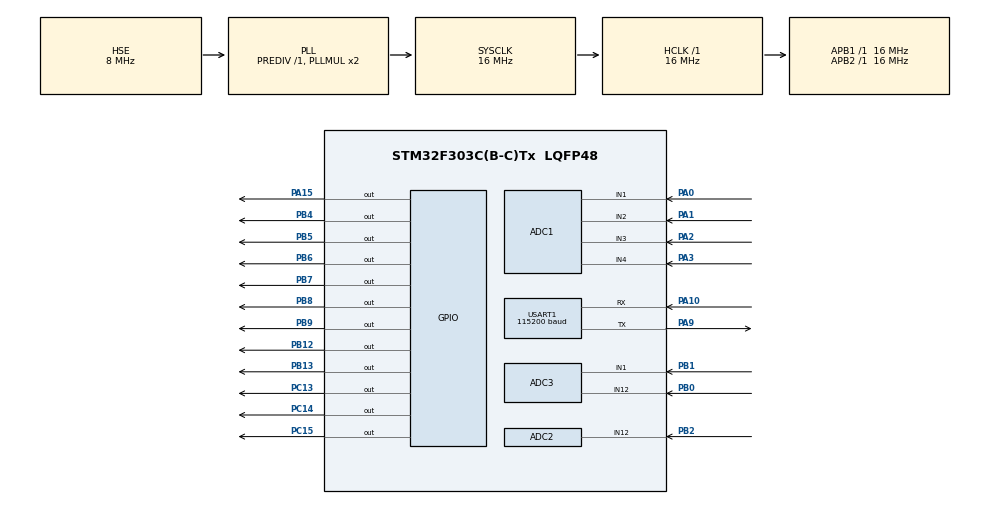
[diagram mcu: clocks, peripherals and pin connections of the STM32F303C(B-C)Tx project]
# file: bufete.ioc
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ADC1.Channel-0\#ChannelRegularConversion=ADC_CHANNEL_1
ADC1.NbrOfConversionFlag=1
ADC1.Offset-0\#ChannelRegularConversion=0
ADC1.OffsetNumber-0\#ChannelRegularConversion=ADC_OFFSET_NONE
ADC1.Rank-0\#ChannelRegularConversion=1
ADC1.SamplingTime-0\#ChannelRegularConversion=ADC_SAMPLETIME_1CYCLE_5
ADC1.SingleDiff-0\#ChannelRegularConversion=ADC_DIFFERENTIAL_ENDED
ADC1.master=1
ADC2.Channel-0\#ChannelRegularConversion=ADC_CHANNEL_12
ADC2.NbrOfConversionFlag=1
ADC2.Offset-0\#ChannelRegularConversion=0
ADC2.OffsetNumber-0\#ChannelRegularConversion=ADC_OFFSET_NONE
ADC2.Rank-0\#ChannelRegularConversion=1
ADC2.SamplingTime-0\#ChannelRegularConversion=ADC_SAMPLETIME_1CYCLE_5
ADC3.Channel-0\#ChannelRegularConversion=ADC_CHANNEL_1
ADC3.NbrOfConversionFlag=1
ADC3.Offset-0\#ChannelRegularConversion=0
ADC3.OffsetNumber-0\#ChannelRegularConversion=ADC_OFFSET_NONE
ADC3.Rank-0\#ChannelRegularConversion=1
ADC3.SamplingTime-0\#ChannelRegularConversion=ADC_SAMPLETIME_1CYCLE_5
ADC3.master=1
Mcu.Family=STM32F3
Mcu.Name=STM32F303C(B-C)Tx
Mcu.Package=LQFP48
NVIC.PriorityGroup=NVIC_PRIORITYGROUP_4
NVIC.USART1_IRQn=true\:0\:0\:false\:false\:true\:true\:true\:true
PA0.Mode=IN1-Differential
PA0.Signal=ADC1_IN1
PA1.Mode=IN1-Differential
PA1.Signal=ADC1_IN2
PA10.Mode=Asynchronous
PA10.Signal=USART1_RX
PA13.Mode=Serial_Wire
PA13.Signal=SYS_JTMS-SWDIO
PA14.Mode=Serial_Wire
PA14.Signal=SYS_JTCK-SWCLK
PA15.Signal=GPIO_Output
PA2.Mode=IN3-Differential
PA2.Signal=ADC1_IN3
PA3.Mode=IN3-Differential
PA3.Signal=ADC1_IN4
PA4.Signal=ADC2_IN1
PA5.Signal=ADC2_IN2
PA6.Signal=ADC2_IN3
PA9.Mode=Asynchronous
PA9.Signal=USART1_TX
PB0.Mode=IN12-Single-Ended
PB0.Signal=ADC3_IN12
PB1.Mode=IN1-Single-Ended
PB1.Signal=ADC3_IN1
PB12.Signal=GPIO_Output
PB13.GPIO_PuPd=GPIO_PULLUP
PB13.Signal=GPIO_Output
PB2.Mode=IN12-Single-Ended
PB2.Signal=ADC2_IN12
PB4.Signal=GPIO_Output
PB5.Signal=GPIO_Output
PB6.Signal=GPIO_Output
PB7.Signal=GPIO_Output
PB8.Signal=GPIO_Output
PB9.Signal=GPIO_Output
PC13.Signal=GPIO_Output
PC14-OSC32_IN.Signal=GPIO_Output
PC15-OSC32_OUT.Signal=GPIO_Output
PF0-OSC_IN.Mode=HSE-External-Oscillator
PF0-OSC_IN.Signal=RCC_OSC_IN
PF1-OSC_OUT.Mode=HSE-External-Oscillator
PF1-OSC_OUT.Signal=RCC_OSC_OUT
ProjectManager.HeapSize=0x200
ProjectManager.StackSize=0x400
ProjectManager.TargetToolchain=STM32CubeIDE
RCC.AHBFreq_Value=16000000
RCC.APB1Freq_Value=16000000
RCC.APB1TimFreq_Value=16000000
RCC.APB2Freq_Value=16000000
RCC.APB2TimFreq_Value=16000000
RCC.CortexFreq_Value=16000000
RCC.HCLKFreq_Value=16000000
RCC.HSE_VALUE=8000000
RCC.HSI_VALUE=8000000
RCC.LSE_VALUE=32768
RCC.PLLSourceVirtual=RCC_PLLSOURCE_HSE
RCC.SYSCLKFreq_VALUE=16000000
RCC.SYSCLKSourceVirtual=RCC_SYSCLKSOURCE_PLLCLK
RCC.USBFreq_Value=16000000
USART1.BaudRate=115200
USART1.VirtualMode-Asynchronous=VM_ASYNC
VP_TIM2_VS_ClockSourceINT.Mode=Internal
board=custom

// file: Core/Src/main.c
/* USER CODE BEGIN Header */
/**
  ******************************************************************************
  * @file           : main.c
  * @brief          : Main program body
  ******************************************************************************
  * @attention
  *
  * Copyright (c) 2023 STMicroelectronics.
  * All rights reserved.
  *
  * This software is licensed under terms that can be found in the LICENSE file
  * in the root directory of this software component.
  * If no LICENSE file comes with this software, it is provided AS-IS.
  *
  ******************************************************************************
  */
/* USER CODE END Header */
#include "main.h"
#include "adc.h"
#include "tim.h"
#include "usart.h"
#include "gpio.h"

/* USER CODE BEGIN Includes */
#include "ringbuffer.h"
#include "bufete_tx.h"
#include "bufete_rx.h"
#include "bufete_functions.h"
#include "led_bufete.h"
#include "sensor_bufete.h"
/* USER CODE END Includes */

/* USER CODE BEGIN PV */
ring_buffer ring_buff;
rx_buffer rx_bufete;
tx_bufete bufete_tx;
uint16_t payloadSize;
uint8_t payload_store[UART_BUFFER_SIZE];
uint8_t *response_store[UART_BUFFER_SIZE];
uint32_t response_size;
/* USER CODE END PV */

void SystemClock_Config(void);

int main(void)
{

  /* MCU Configuration--------------------------------------------------------*/

  /* Reset of all peripherals, Initializes the Flash interface and the Systick. */
   HAL_Init();

  /* USER CODE BEGIN Init */
//  Ringbuf_init(&ring_buff);
  rx_init(&rx_bufete, &huart1, &ring_buff);
  tx_init(&bufete_tx, &huart1);
  leds_init();
  sensorListInit(&hadc1, &hadc2, &hadc3);
  /* USER CODE END Init */

  /* Configure the system clock */
  SystemClock_Config();

  /* Initialize all configured peripherals */
  MX_GPIO_Init();
  MX_USART1_UART_Init();
  MX_ADC1_Init();
  MX_ADC2_Init();
  MX_ADC3_Init();
  MX_TIM2_Init();
  /* USER CODE BEGIN 2 */

  rx_start(&rx_bufete);

  /* USER CODE END 2 */

  /* Infinite loop */
  /* USER CODE BEGIN WHILE */
  while (1) {

	  if(!isEmpty(rx_bufete.ring_buff) && rx_bufete.isPayloadFinish == 1){
		  payloadSize = bufete_rx_translate(&rx_bufete, payload_store);
		  bufete_check_payload(payload_store, payloadSize);
		  response_size = get_response(response_store);
		  if(response_size>0){
			  bufete_tx_transmit(bufete_tx, *response_store, response_size);
		  }

	  }
//	  HAL_Delay(500);
//	  HAL_GPIO_TogglePin(GPIOB, GPIO_PIN_13);
//	  HAL_Delay(500);
//	  HAL_GPIO_TogglePin(GPIOB, GPIO_PIN_13);

    /* USER CODE END WHILE */

  }
}

void SystemClock_Config(void)
{
  RCC_OscInitTypeDef RCC_OscInitStruct = {0};
  RCC_ClkInitTypeDef RCC_ClkInitStruct = {0};
  RCC_PeriphCLKInitTypeDef PeriphClkInit = {0};

  /** Initializes the RCC Oscillators according to the specified parameters
  * in the RCC_OscInitTypeDef structure.
  */
  RCC_OscInitStruct.OscillatorType = RCC_OSCILLATORTYPE_HSE;
  RCC_OscInitStruct.HSEState = RCC_HSE_ON;
  RCC_OscInitStruct.HSEPredivValue = RCC_HSE_PREDIV_DIV1;
  RCC_OscInitStruct.HSIState = RCC_HSI_ON;
  RCC_OscInitStruct.PLL.PLLState = RCC_PLL_ON;
  RCC_OscInitStruct.PLL.PLLSource = RCC_PLLSOURCE_HSE;
  RCC_OscInitStruct.PLL.PLLMUL = RCC_PLL_MUL2;
  if (HAL_RCC_OscConfig(&RCC_OscInitStruct) != HAL_OK)
  {
    Error_Handler();
  }

  /** Initializes the CPU, AHB and APB buses clocks
  */
  RCC_ClkInitStruct.ClockType = RCC_CLOCKTYPE_HCLK|RCC_CLOCKTYPE_SYSCLK
                              |RCC_CLOCKTYPE_PCLK1|RCC_CLOCKTYPE_PCLK2;
  RCC_ClkInitStruct.SYSCLKSource = RCC_SYSCLKSOURCE_PLLCLK;
  RCC_ClkInitStruct.AHBCLKDivider = RCC_SYSCLK_DIV1;
  RCC_ClkInitStruct.APB1CLKDivider = RCC_HCLK_DIV1;
  RCC_ClkInitStruct.APB2CLKDivider = RCC_HCLK_DIV1;

  if (HAL_RCC_ClockConfig(&RCC_ClkInitStruct, FLASH_LATENCY_0) != HAL_OK)
  {
    Error_Handler();
  }
  PeriphClkInit.PeriphClockSelection = RCC_PERIPHCLK_USART1|RCC_PERIPHCLK_ADC12
                              |RCC_PERIPHCLK_ADC34;
  PeriphClkInit.Usart1ClockSelection = RCC_USART1CLKSOURCE_PCLK2;
  PeriphClkInit.Adc12ClockSelection = RCC_ADC12PLLCLK_DIV1;
  PeriphClkInit.Adc34ClockSelection = RCC_ADC34PLLCLK_DIV1;
  if (HAL_RCCEx_PeriphCLKConfig(&PeriphClkInit) != HAL_OK)
  {
    Error_Handler();
  }
}

/* USER CODE BEGIN 4 */
void HAL_UART_RxCpltCallback(UART_HandleTypeDef *huart) {
	if(huart == &huart1){
		bufete_rx_write_byte(&rx_bufete);
		rx_start(&rx_bufete);
	}
}
/* USER CODE END 4 */

void Error_Handler(void)
{
  __disable_irq();
  while (1)
  {
  }
}
